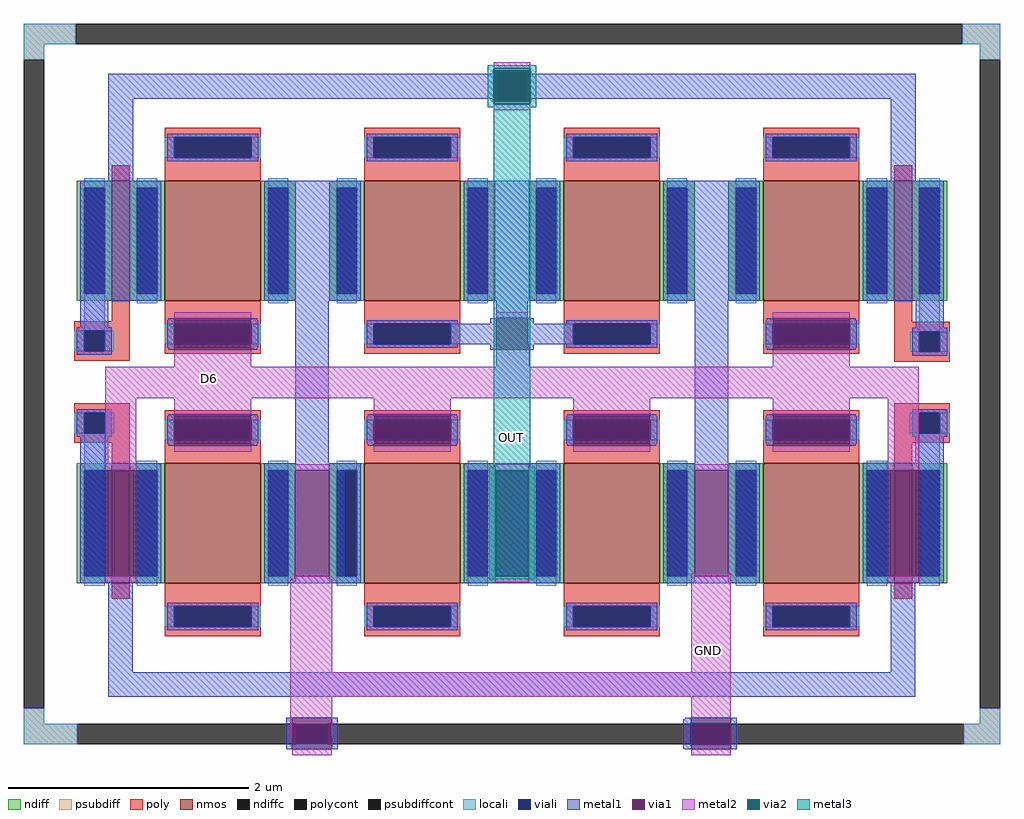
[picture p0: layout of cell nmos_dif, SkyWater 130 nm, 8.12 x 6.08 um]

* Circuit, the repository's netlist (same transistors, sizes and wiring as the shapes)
* NGSPICE file created from nmos_dif.ext - technology: sky130A

.subckt sky130_fd_pr__nfet_01v8_6H9P4D a_n73_n100# a_15_n100# a_n15_n126# VSUBS
X0 a_15_n100# a_n15_n126# a_n73_n100# VSUBS sky130_fd_pr__nfet_01v8 ad=0.29 pd=2.58 as=0.29 ps=2.58 w=1 l=0.15
.ends

.subckt sky130_fd_pr__nfet_01v8_DB328X a_360_n100# a_418_n188# a_n578_n188# a_n304_n100#
+ a_28_n100# a_n418_n100# a_246_n100# a_n636_n100# a_578_n100# a_86_n188# a_n246_n188#
+ a_n86_n100# VSUBS
X0 a_578_n100# a_418_n188# a_360_n100# VSUBS sky130_fd_pr__nfet_01v8 ad=0.29 pd=2.58 as=0.29 ps=2.58 w=1 l=0.8
X1 a_n418_n100# a_n578_n188# a_n636_n100# VSUBS sky130_fd_pr__nfet_01v8 ad=0.29 pd=2.58 as=0.29 ps=2.58 w=1 l=0.8
X2 a_n86_n100# a_n246_n188# a_n304_n100# VSUBS sky130_fd_pr__nfet_01v8 ad=0.29 pd=2.58 as=0.29 ps=2.58 w=1 l=0.8
X3 a_246_n100# a_86_n188# a_28_n100# VSUBS sky130_fd_pr__nfet_01v8 ad=0.29 pd=2.58 as=0.29 ps=2.58 w=1 l=0.8
.ends

.subckt nmos_dif D6 OUT GND
Xsky130_fd_pr__nfet_01v8_6H9P4D_0 D6 D6 D6 GND sky130_fd_pr__nfet_01v8_6H9P4D
Xsky130_fd_pr__nfet_01v8_6H9P4D_1 OUT OUT OUT GND sky130_fd_pr__nfet_01v8_6H9P4D
Xsky130_fd_pr__nfet_01v8_6H9P4D_2 OUT OUT OUT GND sky130_fd_pr__nfet_01v8_6H9P4D
Xsky130_fd_pr__nfet_01v8_6H9P4D_3 D6 D6 D6 GND sky130_fd_pr__nfet_01v8_6H9P4D
Xsky130_fd_pr__nfet_01v8_DB328X_0 GND D6 D6 GND D6 GND GND OUT OUT D6 D6 D6 GND sky130_fd_pr__nfet_01v8_DB328X
Xsky130_fd_pr__nfet_01v8_DB328X_1 GND D6 D6 GND m1_556_88# GND GND D6 D6 D6 D6 m1_556_88#
+ GND sky130_fd_pr__nfet_01v8_DB328X
.ends

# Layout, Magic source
magic
tech sky130A
magscale 1 2
<< psubdiff >>
rect -176 985 -90 1019
rect 1385 985 1448 1019
rect -176 959 -142 985
rect 1414 959 1448 985
rect -176 -146 -142 -120
rect 1414 -146 1448 -120
rect -176 -180 -87 -146
rect 1388 -180 1448 -146
<< psubdiffcont >>
rect -90 985 1385 1019
rect -176 -120 -142 959
rect 1414 -120 1448 959
rect -87 -180 1388 -146
<< poly >>
rect -30 524 0 532
rect -92 508 0 524
rect -92 474 -76 508
rect -42 474 0 508
rect -92 458 0 474
rect 1272 523 1302 558
rect 1272 507 1364 523
rect 1272 473 1314 507
rect 1348 473 1364 507
rect 1272 457 1364 473
rect -92 372 0 388
rect -92 338 -76 372
rect -42 338 0 372
rect -92 322 0 338
rect -30 314 0 322
rect 1272 372 1364 388
rect 1272 338 1314 372
rect 1348 338 1364 372
rect 1272 322 1364 338
rect 1272 314 1302 322
<< polycont >>
rect -76 474 -42 508
rect 1314 473 1348 507
rect -76 338 -42 372
rect 1314 338 1348 372
<< locali >>
rect -176 985 -90 1019
rect 1385 985 1448 1019
rect -176 959 -142 985
rect 1414 959 1448 985
rect -76 508 -42 562
rect -92 474 -76 508
rect -42 474 -26 508
rect 1314 507 1348 563
rect 1298 473 1314 507
rect 1348 473 1364 507
rect -92 338 -76 372
rect -42 338 -26 372
rect 1298 338 1314 372
rect 1348 338 1364 372
rect -76 282 -42 338
rect 1313 282 1348 338
rect -176 -146 -142 -120
rect 1414 -146 1448 -120
rect -176 -180 -87 -146
rect 1388 -180 1448 -146
<< viali >>
rect -76 474 -42 508
rect 1314 473 1348 507
rect -76 338 -42 372
rect 1314 338 1348 372
rect 933 -146 998 -144
rect 277 -180 329 -146
rect 933 -180 998 -146
rect 933 -181 998 -180
<< metal1 >>
rect 604 936 610 941
rect -36 894 610 936
rect -36 758 6 894
rect 604 889 610 894
rect 662 936 668 941
rect 662 894 1308 936
rect 662 889 668 894
rect 1266 758 1308 894
rect -82 558 52 758
rect 224 558 384 758
rect 556 558 716 758
rect 888 558 1048 758
rect 1220 558 1354 758
rect -82 514 -36 558
rect -88 508 -30 514
rect -88 474 -76 508
rect -42 474 -30 508
rect 64 477 74 529
rect 202 477 212 529
rect -88 468 -30 474
rect -88 372 -30 378
rect -88 338 -76 372
rect -42 338 -30 372
rect -88 332 -30 338
rect -82 288 -36 332
rect 64 317 74 369
rect 202 317 212 369
rect 275 288 331 558
rect 610 529 662 558
rect 600 520 610 529
rect 540 486 610 520
rect 600 477 610 486
rect 662 520 672 529
rect 662 486 735 520
rect 662 477 672 486
rect 396 317 406 369
rect 534 317 544 369
rect 728 317 738 369
rect 866 317 876 369
rect 940 288 996 558
rect 1060 477 1070 529
rect 1198 477 1208 529
rect 1308 513 1354 558
rect 1302 507 1360 513
rect 1302 473 1314 507
rect 1348 473 1360 507
rect 1302 467 1360 473
rect 1302 372 1360 378
rect 1060 317 1070 369
rect 1198 317 1208 369
rect 1302 338 1314 372
rect 1348 338 1360 372
rect 1302 332 1360 338
rect 1307 289 1354 332
rect -82 276 52 288
rect -82 100 -41 276
rect 11 100 52 276
rect -82 88 52 100
rect 224 276 358 288
rect 224 100 275 276
rect 332 100 358 276
rect 224 88 358 100
rect 556 88 716 288
rect 888 276 1048 288
rect 888 100 940 276
rect 996 100 1048 276
rect 888 88 1048 100
rect 1220 276 1354 289
rect 1220 100 1261 276
rect 1313 100 1354 276
rect 1220 88 1354 100
rect -36 -60 5 88
rect 1266 -60 1307 88
rect -36 -101 1307 -60
rect 260 -188 270 -136
rect 336 -188 346 -136
rect 924 -138 934 -136
rect 921 -144 934 -138
rect 921 -181 933 -144
rect 921 -187 934 -181
rect 924 -188 934 -187
rect 1000 -188 1010 -136
<< via1 >>
rect 610 889 662 941
rect 74 477 202 529
rect 74 317 202 369
rect 610 477 662 529
rect 406 317 534 369
rect 738 317 866 369
rect 1070 477 1198 529
rect 1070 317 1198 369
rect -41 100 11 276
rect 275 100 332 276
rect 940 100 996 276
rect 1261 100 1313 276
rect 270 -146 336 -136
rect 270 -180 277 -146
rect 277 -180 329 -146
rect 329 -180 336 -146
rect 270 -188 336 -180
rect 934 -144 1000 -136
rect 934 -181 998 -144
rect 998 -181 1000 -144
rect 934 -188 1000 -181
<< metal2 >>
rect 606 945 666 955
rect 606 875 666 885
rect 74 529 202 539
rect 74 448 202 477
rect 610 529 662 539
rect 1070 529 1198 539
rect 662 477 665 486
rect 610 448 665 477
rect 1070 448 1198 477
rect -41 396 1313 448
rect -41 276 11 396
rect 74 369 202 396
rect 74 307 202 317
rect 406 369 534 396
rect 406 307 534 317
rect 738 369 866 396
rect 738 307 866 317
rect 1070 369 1198 396
rect 1070 307 1198 317
rect 275 276 332 286
rect -41 90 11 100
rect 274 100 275 110
rect 274 95 332 100
rect 608 276 664 286
rect 940 276 996 286
rect 267 -60 337 95
rect 608 90 664 100
rect 934 100 940 105
rect 1261 276 1313 396
rect 996 100 1000 105
rect 934 -60 1000 100
rect 1261 90 1313 100
rect 267 -101 1000 -60
rect 267 -136 337 -101
rect 267 -167 270 -136
rect 336 -167 337 -136
rect 934 -136 1000 -101
rect 270 -198 336 -188
rect 934 -198 1000 -188
<< via2 >>
rect 606 941 666 945
rect 606 889 610 941
rect 610 889 662 941
rect 662 889 666 941
rect 606 885 666 889
rect 608 100 664 276
<< metal3 >>
rect 596 945 676 950
rect 596 885 606 945
rect 666 885 676 945
rect 596 880 676 885
rect 606 281 666 880
rect 598 276 674 281
rect 598 100 608 276
rect 664 100 674 276
rect 598 95 674 100
use sky130_fd_pr__nfet_01v8_6H9P4D  sky130_fd_pr__nfet_01v8_6H9P4D_0
transform 1 0 -15 0 1 188
box -73 -126 73 126
use sky130_fd_pr__nfet_01v8_6H9P4D  sky130_fd_pr__nfet_01v8_6H9P4D_1
transform 1 0 -15 0 1 658
box -73 -126 73 126
use sky130_fd_pr__nfet_01v8_6H9P4D  sky130_fd_pr__nfet_01v8_6H9P4D_2
transform 1 0 1287 0 1 658
box -73 -126 73 126
use sky130_fd_pr__nfet_01v8_6H9P4D  sky130_fd_pr__nfet_01v8_6H9P4D_3
transform 1 0 1287 0 1 188
box -73 -126 73 126
use sky130_fd_pr__nfet_01v8_DB328X  sky130_fd_pr__nfet_01v8_DB328X_0
transform 1 0 636 0 1 658
box -636 -188 636 188
use sky130_fd_pr__nfet_01v8_DB328X  sky130_fd_pr__nfet_01v8_DB328X_1
transform 1 0 636 0 1 188
box -636 -188 636 188
<< labels >>
flabel metal2 963 -23 963 -23 0 FreeSans 800 0 0 0 GND
port 2 nsew
flabel metal3 635 331 635 331 0 FreeSans 800 0 0 0 OUT
port 1 nsew
flabel metal2 133 428 133 428 0 FreeSans 800 0 0 0 D6
port 0 nsew
<< end >>

# cell sky130_fd_pr__nfet_01v8_6H9P4D: kit device sky130_fd_pr__nfet_01v8, w 1 l 0.150 m 1 nf 1 diffcov 100 polycov 100 guard 0 glc 1 grc 1 gtc 1 gbc 1 tbcov 100 rlcov 100 topc 0 botc 0 poverlap 0 doverlap 1 lmin 0.15 wmin 0.42 compatible {sky130_fd_pr__nfet_01v8 sky130_fd_pr__nfet_01v8_lvt sky130_fd_bs_flash__special_sonosfet_star sky130_fd_pr__nfet_g5v0d10v5 sky130_fd_pr__nfet_05v0_nvt sky130_fd_pr__nfet_03v3_nvt} full_metal 1 viasrc 100 viadrn 100 viagate 100 viagb 0 viagr 0 viagl 0 viagt 0

# cell sky130_fd_pr__nfet_01v8_DB328X: kit device sky130_fd_pr__nfet_01v8, w 1 l 0.8 m 1 nf 4 diffcov 100 polycov 100 guard 0 glc 1 grc 1 gtc 1 gbc 1 tbcov 100 rlcov 100 topc 1 botc 1 poverlap 0 doverlap 0 lmin 0.15 wmin 0.42 compatible {sky130_fd_pr__nfet_01v8 sky130_fd_pr__nfet_01v8_lvt sky130_fd_bs_flash__special_sonosfet_star sky130_fd_pr__nfet_g5v0d10v5 sky130_fd_pr__nfet_05v0_nvt sky130_fd_pr__nfet_03v3_nvt} full_metal 1 viasrc 100 viadrn 100 viagate 100 viagb 0 viagr 0 viagl 0 viagt 0
